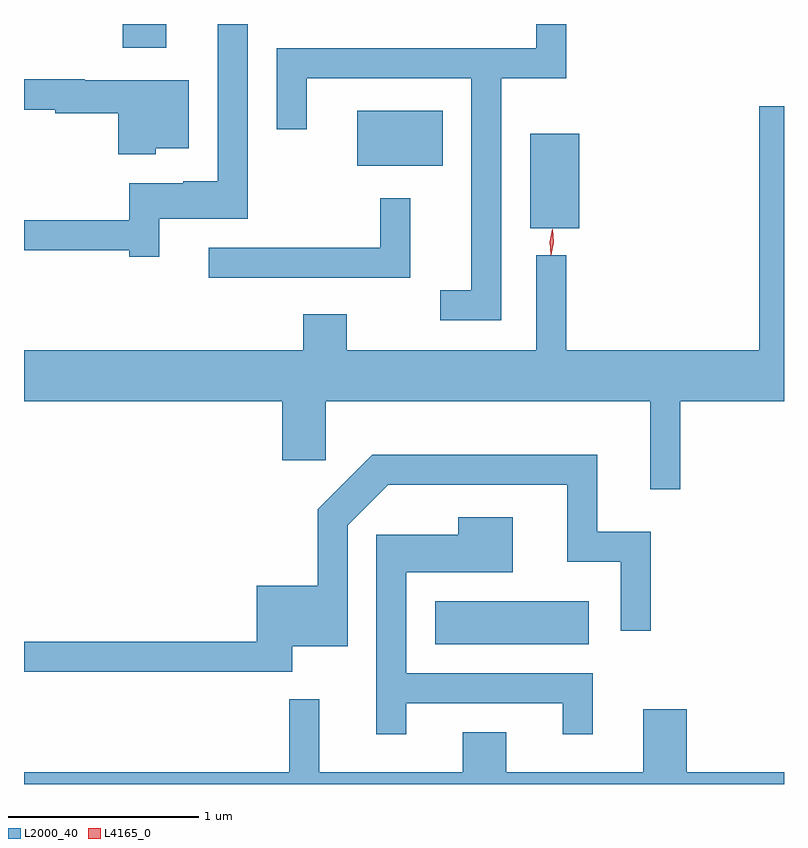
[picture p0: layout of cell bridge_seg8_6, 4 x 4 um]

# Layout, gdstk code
import gdstk
lib = gdstk.Library(unit=1e-6, precision=1e-09)
def R(c, l, rs):  # rectangles x0, y0, x1, y1
    for r in rs: c.add(gdstk.rectangle(r[:2], r[2:], *l))
def P(c, l, *ps):  # polygons
    for p in ps: c.add(gdstk.Polygon(p, *l))
L2000_40 = (2000, 40)
L4165_0 = (4165, 0)

bridge_seg8_6 = lib.new_cell('bridge_seg8_6')
R(bridge_seg8_6, L2000_40, [(1666.996,1877.316,1667.804,1877.544), (1667.496,1879.506,1667.754,1880.004), (1666.586,1879.836,1667.034,1880.124), (1665.351,1880.456,1665.579,1880.581)])
P(bridge_seg8_6, L2000_40, [(1667.344,1880.296),(1667.684,1880.296),(1667.684,1880.581),(1667.526,1880.581),(1667.526,1880.454),(1666.161,1880.454),(1666.161,1880.028),(1666.319,1880.028),(1666.319,1880.296),(1667.186,1880.296),(1667.186,1879.179),(1667.023,1879.179),(1667.023,1879.021),(1667.344,1879.021)],
  [(1665.544,1879.556),(1666.009,1879.556),(1666.009,1880.581),(1665.851,1880.581),(1665.851,1879.754),(1665.67,1879.754),(1665.67,1879.744),(1665.386,1879.744),(1665.386,1879.549),(1664.831,1879.549),(1664.831,1879.391),(1665.386,1879.391),(1665.386,1879.356),(1665.544,1879.356)],
  [(1665.524,1879.926),(1665.699,1879.926),(1665.699,1880.284),(1665.15,1880.284),(1665.15,1880.289),(1664.831,1880.289),(1664.831,1880.131),(1664.996,1880.131),(1664.996,1880.111),(1665.326,1880.111),(1665.326,1879.896),(1665.524,1879.896)],
  [(1668.284,1878.596),(1668.831,1878.596),(1668.831,1880.149),(1668.701,1880.149),(1668.701,1878.864),(1667.684,1878.864),(1667.684,1879.363),(1667.526,1879.363),(1667.526,1878.864),(1666.529,1878.864),(1666.529,1879.054),(1666.301,1879.054),(1666.301,1878.864),(1664.831,1878.864),(1664.831,1878.596),(1666.191,1878.596),(1666.191,1878.286),(1666.419,1878.286),(1666.419,1878.596),(1668.126,1878.596),(1668.126,1878.133),(1668.284,1878.133)],
  [(1666.864,1879.663),(1666.706,1879.663),(1666.706,1879.404),(1665.803,1879.404),(1665.803,1879.246),(1666.864,1879.246)],
  [(1666.244,1877.306),(1666.534,1877.306),(1666.534,1877.944),(1666.747,1878.156),(1667.691,1878.156),(1667.691,1877.751),(1667.971,1877.751),(1667.971,1877.388),(1668.129,1877.388),(1668.129,1877.909),(1667.849,1877.909),(1667.849,1878.314),(1666.664,1878.314),(1666.376,1878.027),(1666.376,1877.624),(1666.056,1877.624),(1666.056,1877.329),(1664.831,1877.329),(1664.831,1877.171),(1666.244,1877.171)],
  [(1666.844,1877.006),(1667.666,1877.006),(1667.666,1876.843),(1667.824,1876.843),(1667.824,1877.164),(1666.844,1877.164),(1666.844,1877.696),(1667.404,1877.696),(1667.404,1877.984),(1667.116,1877.984),(1667.116,1877.894),(1666.686,1877.894),(1666.686,1876.843),(1666.844,1876.843)],
  [(1668.831,1876.644),(1668.319,1876.644),(1668.319,1876.974),(1668.091,1876.974),(1668.091,1876.644),(1667.369,1876.644),(1667.369,1876.854),(1667.141,1876.854),(1667.141,1876.644),(1666.384,1876.644),(1666.384,1877.028),(1666.226,1877.028),(1666.226,1876.644),(1664.831,1876.644),(1664.831,1876.581),(1668.831,1876.581)])
P(bridge_seg8_6, L4165_0, [(1667.605,1879.365),(1667.604,1879.366),(1667.599,1879.434),(1667.612,1879.501),(1667.613,1879.502),(1667.613,1879.501),(1667.619,1879.433),(1667.606,1879.366)],
  [(1667.605,1879.368),(1667.604,1879.369),(1667.598,1879.434),(1667.611,1879.499),(1667.611,1879.5),(1667.612,1879.499),(1667.618,1879.433),(1667.606,1879.369)])

lib.write_gds('bridge_seg8_6.gds')
